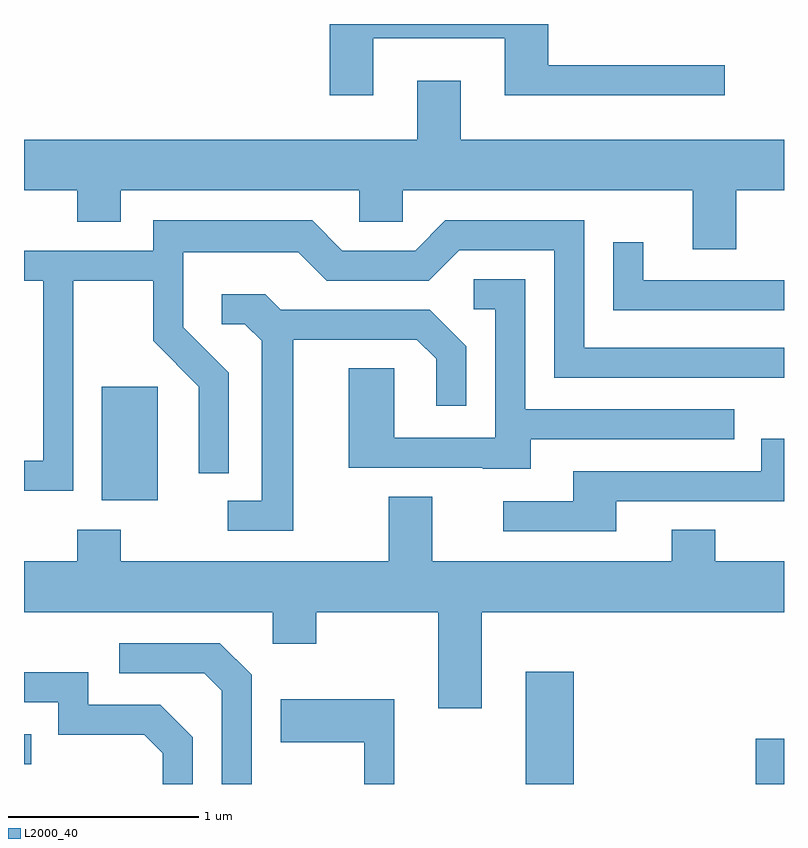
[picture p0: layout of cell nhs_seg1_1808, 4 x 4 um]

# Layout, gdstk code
import gdstk
lib = gdstk.Library(unit=1e-6, precision=1e-09)
def R(c, l, rs):  # rectangles x0, y0, x1, y1
    for r in rs: c.add(gdstk.rectangle(r[:2], r[2:], *l))
def P(c, l, *ps):  # polygons
    for p in ps: c.add(gdstk.Polygon(p, *l))
L2000_40 = (2000, 40)

nhs_seg1_1808 = lib.new_cell('nhs_seg1_1808')
R(nhs_seg1_1808, L2000_40, [(242.251,969.712,242.504,970.304), (243.461,969.712,243.611,969.949), (239.611,969.816,239.648,969.974), (240.021,971.206,240.314,971.804), (242.593,973.711,242.829,973.712)])
P(nhs_seg1_1808, L2000_40, [(241.449,973.636),(242.141,973.636),(242.141,973.336),(243.298,973.336),(243.298,973.494),(242.369,973.494),(242.369,973.712),(241.221,973.712),(241.221,973.336),(241.449,973.336)],
  [(243.359,972.836),(243.611,972.836),(243.611,973.104),(241.909,973.104),(241.909,973.414),(241.681,973.414),(241.681,973.104),(239.611,973.104),(239.611,972.836),(239.891,972.836),(239.891,972.671),(240.119,972.671),(240.119,972.836),(241.376,972.836),(241.376,972.671),(241.604,972.671),(241.604,972.836),(243.131,972.836),(243.131,972.526),(243.359,972.526)],
  [(239.869,972.361),(240.291,972.361),(240.291,972.044),(240.531,971.804),(240.531,971.348),(240.689,971.348),(240.689,971.877),(240.449,972.117),(240.449,972.511),(241.054,972.511),(241.204,972.361),(241.742,972.361),(241.902,972.521),(242.401,972.521),(242.401,971.851),(243.611,971.851),(243.611,972.009),(242.559,972.009),(242.559,972.679),(241.829,972.679),(241.669,972.519),(241.287,972.519),(241.127,972.679),(240.291,972.679),(240.291,972.519),(239.611,972.519),(239.611,972.361),(239.711,972.361),(239.711,971.414),(239.611,971.414),(239.611,971.256),(239.869,971.256)],
  [(243.611,972.364),(242.869,972.364),(242.869,972.563),(242.711,972.563),(242.711,972.206),(243.611,972.206)],
  [(242.279,971.526),(243.348,971.526),(243.348,971.684),(242.249,971.684),(242.249,972.369),(241.978,972.369),(241.978,972.211),(242.091,972.211),(242.091,971.534),(241.559,971.534),(241.559,971.899),(241.321,971.899),(241.321,971.376),(242.025,971.376),(242.025,971.371),(242.279,971.371)],
  [(241.029,972.051),(241.679,972.051),(241.781,971.949),(241.781,971.703),(241.939,971.703),(241.939,972.017),(241.747,972.209),(240.962,972.209),(240.882,972.289),(240.653,972.289),(240.653,972.131),(240.774,972.131),(240.861,972.044),(240.861,971.204),(240.683,971.204),(240.683,971.046),(241.029,971.046)],
  [(242.729,971.201),(243.611,971.201),(243.611,971.529),(243.491,971.529),(243.491,971.359),(242.501,971.359),(242.501,971.199),(242.133,971.199),(242.133,971.041),(242.729,971.041)],
  [(242.019,970.616),(243.611,970.616),(243.611,970.884),(243.249,970.884),(243.249,971.049),(243.021,971.049),(243.021,970.884),(241.759,970.884),(241.759,971.224),(241.531,971.224),(241.531,970.884),(240.119,970.884),(240.119,971.049),(239.891,971.049),(239.891,970.884),(239.611,970.884),(239.611,970.616),(240.921,970.616),(240.921,970.451),(241.149,970.451),(241.149,970.616),(241.791,970.616),(241.791,970.111),(242.019,970.111)],
  [(240.809,970.287),(240.642,970.454),(240.113,970.454),(240.113,970.296),(240.559,970.296),(240.651,970.204),(240.651,969.712),(240.809,969.712)],
  [(240.499,969.957),(240.327,970.129),(239.949,970.129),(239.949,970.299),(239.611,970.299),(239.611,970.141),(239.791,970.141),(239.791,969.971),(240.244,969.971),(240.341,969.874),(240.341,969.712),(240.499,969.712)],
  [(241.559,970.159),(240.961,970.159),(240.961,969.931),(241.401,969.931),(241.401,969.712),(241.559,969.712)])

lib.write_gds('nhs_seg1_1808.gds')
